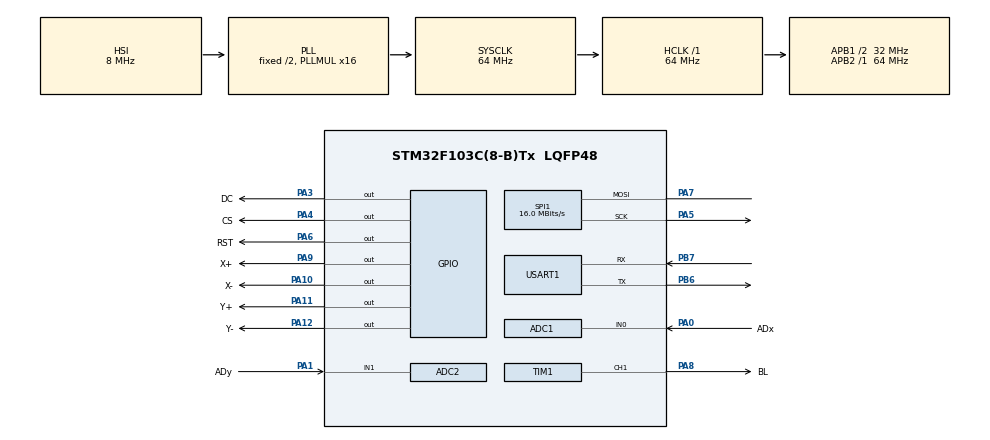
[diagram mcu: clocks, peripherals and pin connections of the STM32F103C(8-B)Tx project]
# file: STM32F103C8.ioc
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ADC1.Channel-0\#ChannelRegularConversion=ADC_CHANNEL_0
ADC1.NbrOfConversionFlag=1
ADC1.Rank-0\#ChannelRegularConversion=1
ADC1.SamplingTime-0\#ChannelRegularConversion=ADC_SAMPLETIME_1CYCLE_5
ADC1.master=1
ADC2.Channel-0\#ChannelRegularConversion=ADC_CHANNEL_1
ADC2.NbrOfConversionFlag=1
ADC2.Rank-0\#ChannelRegularConversion=1
ADC2.SamplingTime-0\#ChannelRegularConversion=ADC_SAMPLETIME_1CYCLE_5
Dma.Request0=USART1_RX
Dma.Request1=USART1_TX
Dma.USART1_RX.0.Direction=DMA_PERIPH_TO_MEMORY
Dma.USART1_RX.0.Instance=DMA1_Channel5
Dma.USART1_RX.0.MemDataAlignment=DMA_MDATAALIGN_BYTE
Dma.USART1_RX.0.MemInc=DMA_MINC_ENABLE
Dma.USART1_RX.0.Mode=DMA_CIRCULAR
Dma.USART1_RX.0.PeriphDataAlignment=DMA_PDATAALIGN_BYTE
Dma.USART1_RX.0.PeriphInc=DMA_PINC_DISABLE
Dma.USART1_RX.0.Priority=DMA_PRIORITY_LOW
Dma.USART1_TX.1.Direction=DMA_MEMORY_TO_PERIPH
Dma.USART1_TX.1.Instance=DMA1_Channel4
Dma.USART1_TX.1.MemDataAlignment=DMA_MDATAALIGN_BYTE
Dma.USART1_TX.1.MemInc=DMA_MINC_ENABLE
Dma.USART1_TX.1.Mode=DMA_NORMAL
Dma.USART1_TX.1.PeriphDataAlignment=DMA_PDATAALIGN_BYTE
Dma.USART1_TX.1.PeriphInc=DMA_PINC_DISABLE
Dma.USART1_TX.1.Priority=DMA_PRIORITY_LOW
FREERTOS.Tasks01=defaultTask,0,128,StartDefaultTask,Default,NULL,Dynamic,NULL,NULL
Mcu.Family=STM32F1
Mcu.Name=STM32F103C(8-B)Tx
Mcu.Package=LQFP48
NVIC.DMA1_Channel4_IRQn=true\:5\:0\:false\:false\:true\:true\:false\:true\:true
NVIC.DMA1_Channel5_IRQn=true\:5\:0\:false\:false\:true\:true\:false\:true\:true
NVIC.PriorityGroup=NVIC_PRIORITYGROUP_4
PA0-WKUP.GPIO_Label=ADx
PA0-WKUP.Signal=ADCx_IN0
PA1.GPIO_Label=ADy
PA1.Signal=ADCx_IN1
PA10.GPIO_Label=X-
PA10.Signal=GPIO_Output
PA11.GPIO_Label=Y+
PA11.Signal=GPIO_Output
PA12.GPIO_Label=Y-
PA12.Signal=GPIO_Output
PA13.Signal=SYS_JTMS-SWDIO
PA14.Signal=SYS_JTCK-SWCLK
PA3.GPIO_Label=DC
PA3.Signal=GPIO_Output
PA4.GPIO_Label=CS
PA4.Signal=GPIO_Output
PA5.Mode=Simplex_Bidirectional_Master
PA5.Signal=SPI1_SCK
PA6.GPIO_Label=RST
PA6.Signal=GPIO_Output
PA7.Mode=Simplex_Bidirectional_Master
PA7.Signal=SPI1_MOSI
PA8.GPIO_Label=BL
PA8.Signal=S_TIM1_CH1
PA9.GPIO_Label=X+
PA9.Signal=GPIO_Output
PB6.Mode=Asynchronous
PB6.Signal=USART1_TX
PB7.Mode=Asynchronous
PB7.Signal=USART1_RX
ProjectManager.HeapSize=0x200
ProjectManager.StackSize=0x400
ProjectManager.TargetToolchain=Makefile
RCC.ADCPresc=RCC_ADCPCLK2_DIV6
RCC.AHBFreq_Value=64000000
RCC.APB1CLKDivider=RCC_HCLK_DIV2
RCC.APB1Freq_Value=32000000
RCC.APB1TimFreq_Value=64000000
RCC.APB2Freq_Value=64000000
RCC.APB2TimFreq_Value=64000000
RCC.HCLKFreq_Value=64000000
RCC.PLLMUL=RCC_PLL_MUL16
RCC.SYSCLKFreq_VALUE=64000000
RCC.SYSCLKSource=RCC_SYSCLKSOURCE_PLLCLK
RCC.USBFreq_Value=64000000
SH.ADCx_IN0.0=ADC1_IN0,IN0
SH.ADCx_IN1.0=ADC2_IN1,IN1
SH.S_TIM1_CH1.0=TIM1_CH1,PWM Generation1 CH1
SPI1.BaudRatePrescaler=SPI_BAUDRATEPRESCALER_4
SPI1.CalculateBaudRate=16.0 MBits/s
SPI1.Direction=SPI_DIRECTION_1LINE
SPI1.Mode=SPI_MODE_MASTER
SPI1.VirtualType=VM_MASTER
TIM1.Channel-PWM\ Generation1\ CH1=TIM_CHANNEL_1
TIM1.Period=100
TIM1.Prescaler=63
TIM1.Pulse-PWM\ Generation1\ CH1=0
USART1.VirtualMode=VM_ASYNC
VP_FREERTOS_VS_CMSIS_V1.Mode=CMSIS_V1
VP_SYS_VS_ND.Mode=No_Debug
VP_TIM1_VS_ClockSourceINT.Mode=Internal
board=custom

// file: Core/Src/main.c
/* USER CODE BEGIN Header */
/**
  ******************************************************************************
  * @file           : main.c
  * @brief          : Main program body
  ******************************************************************************
  * @attention
  *
  * Copyright (c) 2024 STMicroelectronics.
  * All rights reserved.
  *
  * This software is licensed under terms that can be found in the LICENSE file
  * in the root directory of this software component.
  * If no LICENSE file comes with this software, it is provided AS-IS.
  *
  ******************************************************************************
  */
/* USER CODE END Header */
#include "main.h"
#include "cmsis_os.h"
#include "adc.h"
#include "dma.h"
#include "spi.h"
#include "tim.h"
#include "usart.h"
#include "gpio.h"

void SystemClock_Config(void);
void MX_FREERTOS_Init(void);

int main(void)
{

  /* MCU Configuration--------------------------------------------------------*/

  /* Reset of all peripherals, Initializes the Flash interface and the Systick. */
  HAL_Init();

  /* Configure the system clock */
  SystemClock_Config();

  /* Initialize all configured peripherals */
  MX_GPIO_Init();
  MX_DMA_Init();
  MX_TIM1_Init();
  MX_USART1_UART_Init();
  MX_SPI1_Init();
  MX_ADC1_Init();
  MX_ADC2_Init();

  /* Call init function for freertos objects (in freertos.c) */
  MX_FREERTOS_Init();

  /* Start scheduler */
  osKernelStart();

  /* We should never get here as control is now taken by the scheduler */
  /* Infinite loop */
  while (1)
  {

  }
}

void SystemClock_Config(void)
{
  RCC_OscInitTypeDef RCC_OscInitStruct = {0};
  RCC_ClkInitTypeDef RCC_ClkInitStruct = {0};
  RCC_PeriphCLKInitTypeDef PeriphClkInit = {0};

  /** Initializes the RCC Oscillators according to the specified parameters
  * in the RCC_OscInitTypeDef structure.
  */
  RCC_OscInitStruct.OscillatorType = RCC_OSCILLATORTYPE_HSI;
  RCC_OscInitStruct.HSIState = RCC_HSI_ON;
  RCC_OscInitStruct.HSICalibrationValue = RCC_HSICALIBRATION_DEFAULT;
  RCC_OscInitStruct.PLL.PLLState = RCC_PLL_ON;
  RCC_OscInitStruct.PLL.PLLSource = RCC_PLLSOURCE_HSI_DIV2;
  RCC_OscInitStruct.PLL.PLLMUL = RCC_PLL_MUL16;
  if (HAL_RCC_OscConfig(&RCC_OscInitStruct) != HAL_OK)
  {
    Error_Handler();
  }

  /** Initializes the CPU, AHB and APB buses clocks
  */
  RCC_ClkInitStruct.ClockType = RCC_CLOCKTYPE_HCLK|RCC_CLOCKTYPE_SYSCLK
                              |RCC_CLOCKTYPE_PCLK1|RCC_CLOCKTYPE_PCLK2;
  RCC_ClkInitStruct.SYSCLKSource = RCC_SYSCLKSOURCE_PLLCLK;
  RCC_ClkInitStruct.AHBCLKDivider = RCC_SYSCLK_DIV1;
  RCC_ClkInitStruct.APB1CLKDivider = RCC_HCLK_DIV2;
  RCC_ClkInitStruct.APB2CLKDivider = RCC_HCLK_DIV1;

  if (HAL_RCC_ClockConfig(&RCC_ClkInitStruct, FLASH_LATENCY_2) != HAL_OK)
  {
    Error_Handler();
  }
  PeriphClkInit.PeriphClockSelection = RCC_PERIPHCLK_ADC;
  PeriphClkInit.AdcClockSelection = RCC_ADCPCLK2_DIV6;
  if (HAL_RCCEx_PeriphCLKConfig(&PeriphClkInit) != HAL_OK)
  {
    Error_Handler();
  }
}

void Error_Handler(void)
{
  __disable_irq();
  while (1)
  {
  }
}

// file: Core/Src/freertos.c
/* USER CODE BEGIN Header */
/**
  ******************************************************************************
  * File Name          : freertos.c
  * Description        : Code for freertos applications
  ******************************************************************************
  * @attention
  *
  * Copyright (c) 2024 STMicroelectronics.
  * All rights reserved.
  *
  * This software is licensed under terms that can be found in the LICENSE file
  * in the root directory of this software component.
  * If no LICENSE file comes with this software, it is provided AS-IS.
  *
  ******************************************************************************
  */
/* USER CODE END Header */

#include "FreeRTOS.h"
#include "task.h"
#include "main.h"
#include "cmsis_os.h"

/* USER CODE BEGIN Includes */
#include "common.h"
/* USER CODE END Includes */

osThreadId defaultTaskHandle;

void StartDefaultTask(void const * argument);

void MX_FREERTOS_Init(void); /* (MISRA C 2004 rule 8.1) */

/* GetIdleTaskMemory prototype (linked to static allocation support) */
void vApplicationGetIdleTaskMemory( StaticTask_t **ppxIdleTaskTCBBuffer, StackType_t **ppxIdleTaskStackBuffer, uint32_t *pulIdleTaskStackSize );

/* USER CODE BEGIN GET_IDLE_TASK_MEMORY */
static StaticTask_t xIdleTaskTCBBuffer;
static StackType_t xIdleStack[configMINIMAL_STACK_SIZE];

void vApplicationGetIdleTaskMemory( StaticTask_t **ppxIdleTaskTCBBuffer, StackType_t **ppxIdleTaskStackBuffer, uint32_t *pulIdleTaskStackSize )
{
  *ppxIdleTaskTCBBuffer = &xIdleTaskTCBBuffer;
  *ppxIdleTaskStackBuffer = &xIdleStack[0];
  *pulIdleTaskStackSize = configMINIMAL_STACK_SIZE;
  /* place for user code */
}
/* USER CODE END GET_IDLE_TASK_MEMORY */

void MX_FREERTOS_Init(void) {

  /* Create the thread(s) */
  /* definition and creation of defaultTask */
  osThreadDef(defaultTask, StartDefaultTask, osPriorityNormal, 0, 128);
  defaultTaskHandle = osThreadCreate(osThread(defaultTask), NULL);

}

void StartDefaultTask(void const * argument)
{
  /* USER CODE BEGIN StartDefaultTask */
  printf("2.3寸4阶触摸\n");
  printf("128*96 SPI通信\n");
  printf("CCSB4736W G12896-08\n");

  TOUCH_ALL_PWR_OFF;//关闭触摸电源
  HAL_ADCEx_Calibration_Start( &hadc1 );//ADC校准
  HAL_ADCEx_Calibration_Start( &hadc2 );//ADC校准
  vTaskDelay(500);

  HAL_TIM_PWM_Start(&htim1, TIM_CHANNEL_1);//背光PWM
  __HAL_TIM_SET_COMPARE(&htim1, TIM_CHANNEL_1, 10);//占空比

  st7571_lcd_init();//初始化
  st7571_lcd_test_display();//显示
  touch_calibration();//触摸校准

  /* Infinite loop */
  for ( ;; ) {
    vTaskDelay(100);
    touch_check_x();
    touch_check_y();
  }
  /* USER CODE END StartDefaultTask */
}
